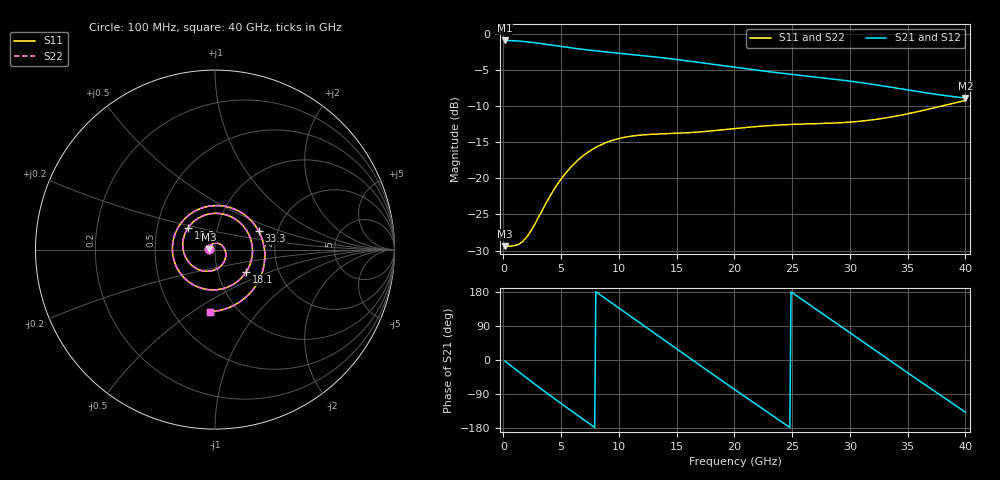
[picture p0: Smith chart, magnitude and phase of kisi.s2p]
! D_s8_stitch_none: L1 (ref L2) → L8 (ref L7), no stitching via
! stackup: 8-layer 1.6 mm FR-4 (generic)
! ports: 1, 2
! kisi-fdtd, conformal, dfine 0.035 mm, 889785 cells
# Hz S RI R 50
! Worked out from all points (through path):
!   400 points, 100 MHz to 40 GHz, reference 50 ohm
!   highest |S21| = -0.86 dB at 100 MHz (marker M1); lowest = -8.8 dB at 40 GHz (marker M2)
!   group delay of S21, straight-line fit = 59.2 ps
!   lowest |S11| = -29.4 dB at 100 MHz (marker M3), VSWR 1.07, Z = 46.7 + j0.32 ohm
!   |S11| at or under -10 dB: start of sweep to 37.82 GHz
!   |S22| runs from -29.4 to -9.2 dB; largest |S21 - S12| = 2.2e-07
!   S11 on the Smith chart (normalised r, x): 100 MHz: 0.93, +0.01; 10.5 GHz: 0.72, +0.18; 18.1 GHz: 1.37, -0.36; 33.3 GHz: 1.60, +0.35; 40 GHz: 0.75, -0.59
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1e8  -0.0337 0.00342  0.9045 -0.0374  0.9045 -0.0374  -0.0337 0.00342
1.9e9  0.0158 0.0348  0.6306 -0.6255  0.6306 -0.6255  0.0158 0.0348
3.4e9  0.0594 -0.0143  0.1605 -0.8427  0.1605 -0.8427  0.0594 -0.0143
4.9e9  0.0331 -0.0909  -0.3179 -0.7602  -0.3179 -0.7602  0.0331 -0.0909
6.8e9  -0.0833 -0.1145  -0.7075 -0.3433  -0.7075 -0.3433  -0.0833 -0.1145
8.6e9  -0.1719 -0.0225  -0.7386 0.1697  -0.7386 0.1697  -0.1719 -0.0225
1.05e10  -0.1502 0.1211  -0.4313 0.5913  -0.4313 0.5913  -0.1502 0.1211
1.19e10  -0.0605 0.1905  -0.0731 0.7093  -0.0731 0.7093  -0.0605 0.1905
1.34e10  0.063 0.1933  0.3088 0.6193  0.3088 0.6193  0.063 0.1933
1.58e10  0.1993 0.0561  0.6416 0.1346  0.6416 0.1346  0.1993 0.0561
1.81e10  0.1736 -0.1251  0.4929 -0.3748  0.4929 -0.3748  0.1736 -0.1251
2.01e10  0.0467 -0.2171  0.1068 -0.579  0.1068 -0.579  0.0467 -0.2171
2.17e10  -0.0779 -0.2146  -0.223 -0.5206  -0.223 -0.5206  -0.0779 -0.2146
2.36e10  -0.1963 -0.1275  -0.4834 -0.2461  -0.4834 -0.2461  -0.1963 -0.1275
2.51e10  -0.2366 -0.0162  -0.5238 0.0411  -0.5238 0.0411  -0.2366 -0.0162
2.67e10  -0.2125 0.11  -0.3997 0.3142  -0.3997 0.3142  -0.2125 0.11
2.97e10  -0.0126 0.2444  0.0966 0.4662  0.0966 0.4662  -0.0126 0.2444
3.16e10  0.1437 0.2079  0.358 0.2789  0.358 0.2789  0.1437 0.2079
3.33e10  0.2438 0.1024  0.4323 0.0145  0.4323 0.0145  0.2438 0.1024
3.34e10  0.2478 0.0947  0.4313 -0.00144  0.4313 -0.00144  0.2478 0.0947
3.68e10  0.2325 -0.1932  0.125 -0.3693  0.125 -0.3693  0.2325 -0.1932
4e10  -0.0281 -0.346  -0.2677 -0.2428  -0.2677 -0.2428  -0.028 -0.346
